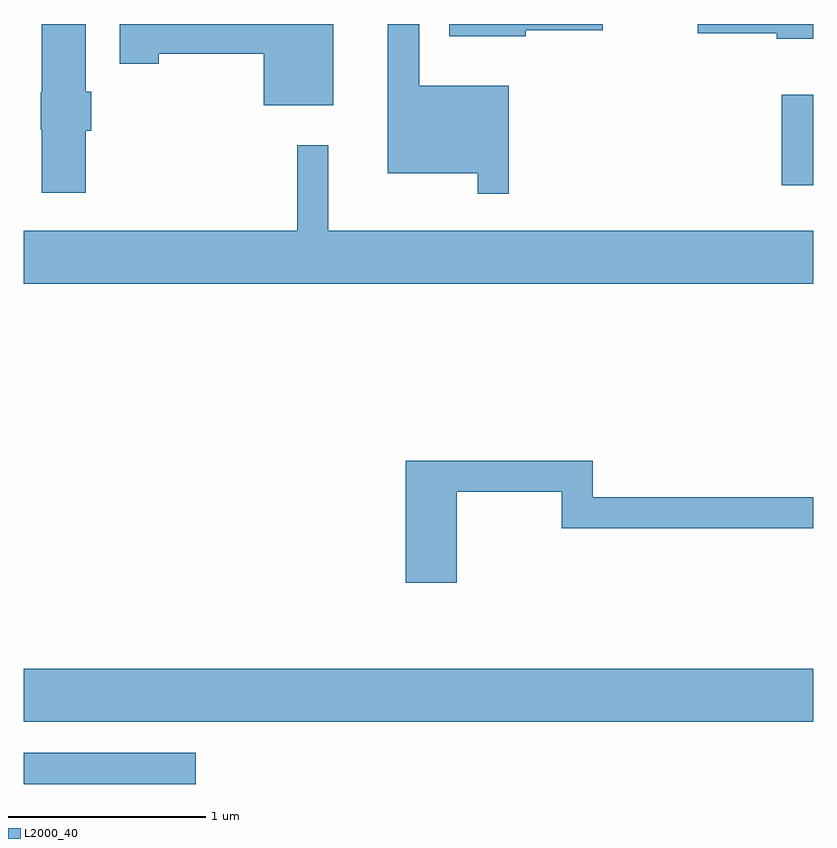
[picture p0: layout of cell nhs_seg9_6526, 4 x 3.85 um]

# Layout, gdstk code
import gdstk
lib = gdstk.Library(unit=1e-6, precision=1e-09)
def R(c, l, rs):  # rectangles x0, y0, x1, y1
    for r in rs: c.add(gdstk.rectangle(r[:2], r[2:], *l))
def P(c, l, *ps):  # polygons
    for p in ps: c.add(gdstk.Polygon(p, *l))
L2000_40 = (2000, 40)

nhs_seg9_6526 = lib.new_cell('nhs_seg9_6526')
R(nhs_seg9_6526, L2000_40, [(377.611,2022.581,378.483,2022.739), (377.611,2022.896,381.611,2023.164), (381.451,2025.616,381.611,2026.074)])
P(nhs_seg9_6526, L2000_40, [(377.924,2025.891),(377.954,2025.891),(377.954,2026.089),(377.924,2026.089),(377.924,2026.432),(377.701,2026.432),(377.701,2026.085),(377.696,2026.085),(377.696,2025.895),(377.701,2025.895),(377.701,2025.576),(377.924,2025.576)],
  [(379.179,2026.432),(378.096,2026.432),(378.096,2026.231),(378.294,2026.231),(378.294,2026.281),(378.826,2026.281),(378.826,2026.021),(379.179,2026.021)],
  [(380.154,2026.401),(380.544,2026.401),(380.544,2026.432),(379.766,2026.432),(379.766,2026.371),(380.154,2026.371)],
  [(381.611,2026.432),(381.026,2026.432),(381.026,2026.386),(381.426,2026.386),(381.426,2026.356),(381.611,2026.356)],
  [(380.069,2026.119),(379.614,2026.119),(379.614,2026.432),(379.456,2026.432),(379.456,2025.676),(379.911,2025.676),(379.911,2025.573),(380.069,2025.573)],
  [(381.611,2025.384),(379.154,2025.384),(379.154,2025.818),(378.996,2025.818),(378.996,2025.384),(377.611,2025.384),(377.611,2025.116),(381.611,2025.116)],
  [(379.804,2024.061),(380.336,2024.061),(380.336,2023.876),(381.611,2023.876),(381.611,2024.034),(380.494,2024.034),(380.494,2024.219),(379.546,2024.219),(379.546,2023.601),(379.804,2023.601)])

lib.write_gds('nhs_seg9_6526.gds')
